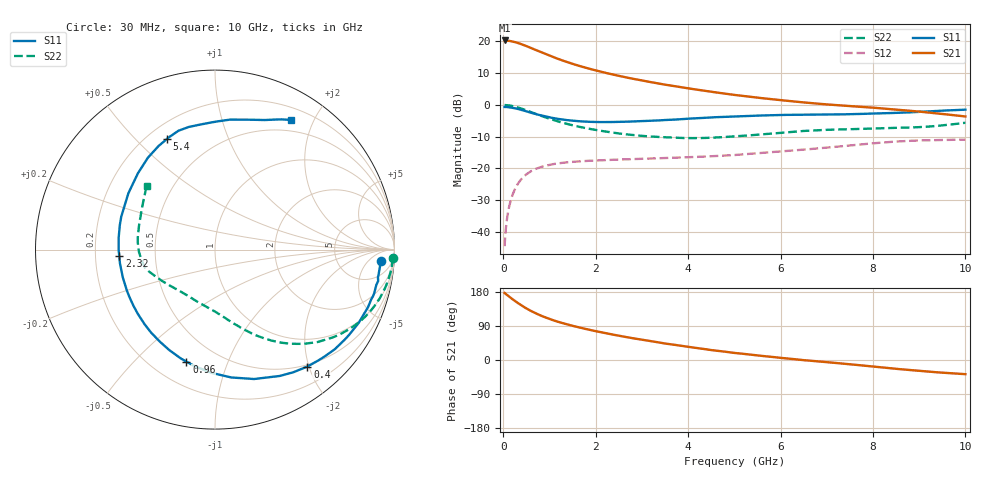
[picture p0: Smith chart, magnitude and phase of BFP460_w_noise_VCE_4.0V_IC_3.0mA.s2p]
! (c) 2016  Infineon Technologies AG, Munich
! Infineon Technologies  Discrete & RF Semiconductors
! BFP460
! VCE =  4.0 V,  IC =  3.0 mA
! Common Emitter S-Parameters:  Jan 2016
# GHz  S  MA  R  50
!  f  S11  S21  S12  S22
! GHz  MAG  ANG  MAG  ANG  MAG  ANG  MAG  ANG
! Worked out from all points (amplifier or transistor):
!   229 points, 30 MHz to 10 GHz, reference 50 ohm
!   highest |S21| = 20.3 dB at 30 MHz (marker M1)
!   |S21| within 3 dB of that: start of sweep to 703.5 MHz
!   unconditionally stable (mu >= 1): 3.542 GHz to 7.778 GHz
!   at 280 MHz: K = 0.12, MSG = 22.8 dB, |S12| = -25.8 dB
!   at 1.78 GHz: K = 0.61, MSG = 14.7 dB, |S12| = -17.7 dB
!   at 10 GHz: K = 0.92, MSG = 3.7 dB, |S12| = -11.0 dB
!   lowest NFmin = 0.71 dB at 450 MHz
!   S11 on the Smith chart (normalised r, x): 30 MHz: 14, -13; 400 MHz: 0.47, -1.97; 960 MHz: 0.34, -0.72; 2.32 GHz: 0.30, -0.03; 5.4 GHz: 0.28, +0.62; 10 GHz: 0.35, +1.70
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0.03  0.9256 -4.0  10.35 176.9  0.0059 84.4  0.9931 -2.8
0.05  0.9234 -6.6  10.28 174.4  0.0099 85.1  0.9907 -4.1
0.09  0.9201 -12.3  10.29 170.9  0.0176 82.2  0.9855 -7.6
0.22  0.8913 -29.6  9.895 158.8  0.0412 72.4  0.9493 -18.0
0.3  0.868 -39.8  9.544 151.8  0.0542 67.1  0.9171 -24.0
0.4  0.8304 -51.7  9.014 143.6  0.0683 60.7  0.8691 -30.7
0.5  0.7909 -62.9  8.448 136.2  0.08 55.2  0.8187 -36.7
0.6  0.7532 -73.2  7.887 129.4  0.0897 50.3  0.7696 -42.0
0.8  0.687 -91.6  6.834 117.8  0.1037 42.4  0.6777 -50.8
0.96  0.644 -104.3  6.134 110.3  0.1115 37.8  0.6167 -56.3
1.1  0.615 -114.5  5.594 104.2  0.1167 34.4  0.5713 -60.5
1.28  0.5859 -126.2  5.011 97.5  0.1216 30.9  0.523 -65.1
1.7  0.5473 -149.3  4.001 84.2  0.129 25.5  0.4414 -73.6
2.32  0.5348 -176.2  3.065 68.4  0.1356 21.2  0.369 -84.5
2.8  0.5467 166.8  2.581 57.5  0.1393 19.3  0.3341 -93.7
3.4  0.5688 149.5  2.143 45.7  0.1438 18.3  0.3103 -105.6
4  0.6043 135.3  1.82 34.6  0.1489 18.1  0.2986 -118.5
5.1  0.6606 117.2  1.405 17.5  0.1635 19.2  0.3214 -141.2
5.4  0.6719 113.5  1.322 13.5  0.1699 19.4  0.333 -145.9
6.8  0.6997 98.9  1.044 -3.5  0.205 17.5  0.3965 -164.1
8.4  0.7419 77.4  0.853 -22.1  0.2604 9.3  0.4323 174.7
10  0.8382 59.5  0.655 -37.4  0.2825 -2.5  0.5214 136.9
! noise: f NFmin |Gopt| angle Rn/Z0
0.45  0.71  0.48  19  0.2
0.9  0.75  0.46  37  0.21
1.9  1.09  0.27  93  0.15
3.5  1.43  0.36  -162  0.1
